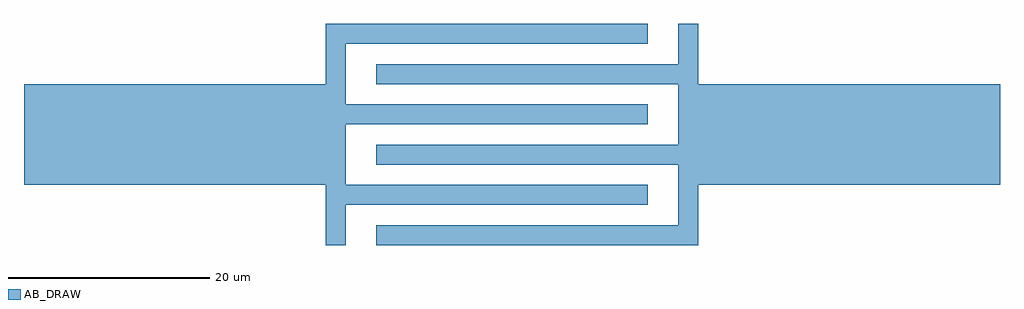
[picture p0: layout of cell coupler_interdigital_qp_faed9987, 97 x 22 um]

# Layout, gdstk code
import gdstk
lib = gdstk.Library(unit=1e-6, precision=1e-09)
def R(c, l, rs):  # rectangles x0, y0, x1, y1
    for r in rs: c.add(gdstk.rectangle(r[:2], r[2:], *l))
AB_DRAW = (10, 0)

rectangle_gdsfactorypco_ = lib.new_cell('rectangle_gdsfactorypco_a3ecc6a0')
R(rectangle_gdsfactorypco_, AB_DRAW, [(0,0,2,22)])

c_rectangle_gdsfactorypco_ = lib.new_cell('rectangle_gdsfactorypco_a3bb6203')
R(c_rectangle_gdsfactorypco_, AB_DRAW, [(0,0,30,2)])

c_rectangle_gdsfactorypco__ = lib.new_cell('rectangle_gdsfactorypco_5525223e')
R(c_rectangle_gdsfactorypco__, AB_DRAW, [(0,0,30,10)])

coupler_interdigital_qp_ = lib.new_cell('coupler_interdigital_qp_faed9987')
coupler_interdigital_qp_.add(gdstk.Reference(rectangle_gdsfactorypco_, (-18.5,-11)))
coupler_interdigital_qp_.add(gdstk.Reference(rectangle_gdsfactorypco_, (16.5,-11)))
coupler_interdigital_qp_.add(gdstk.Reference(c_rectangle_gdsfactorypco_, (-16.5,9)))
coupler_interdigital_qp_.add(gdstk.Reference(c_rectangle_gdsfactorypco_, (-13.5,5)))
coupler_interdigital_qp_.add(gdstk.Reference(c_rectangle_gdsfactorypco_, (-16.5,1)))
coupler_interdigital_qp_.add(gdstk.Reference(c_rectangle_gdsfactorypco_, (-13.5,-3)))
coupler_interdigital_qp_.add(gdstk.Reference(c_rectangle_gdsfactorypco_, (-16.5,-7)))
coupler_interdigital_qp_.add(gdstk.Reference(c_rectangle_gdsfactorypco_, (-13.5,-11)))
coupler_interdigital_qp_.add(gdstk.Reference(c_rectangle_gdsfactorypco__, (-48.5,-5)))
coupler_interdigital_qp_.add(gdstk.Reference(c_rectangle_gdsfactorypco__, (18.5,-5)))

lib.write_gds('coupler_interdigital_qp_faed9987.gds')
